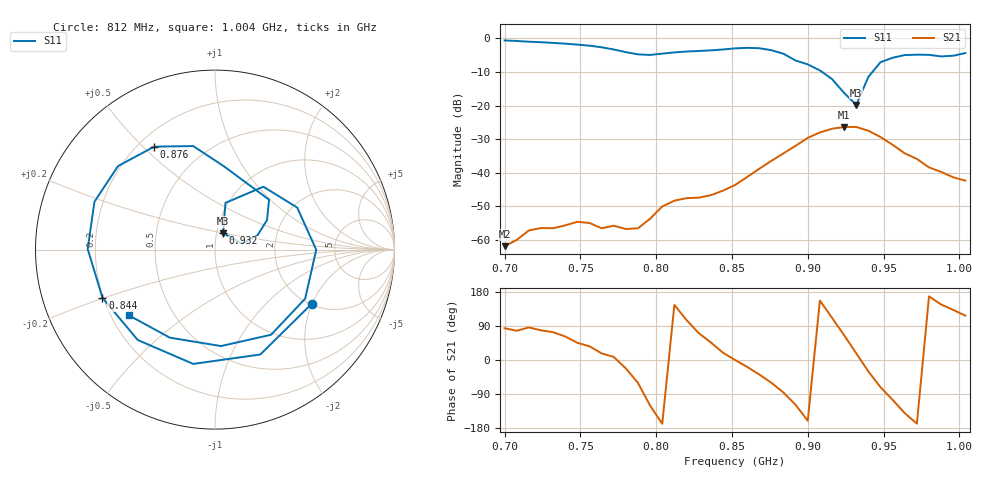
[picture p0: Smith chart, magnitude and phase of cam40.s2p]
# Hz S RI R 50
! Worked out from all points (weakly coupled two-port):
!   39 points, 700 MHz to 1.004 GHz, reference 50 ohm
!   highest |S21| = -26.39 dB at 924 MHz (marker M1); lowest = -61.9 dB at 700 MHz (marker M2)
!   lowest |S11| = -19.8 dB at 932 MHz (marker M3), VSWR 1.23, Z = 53.8 + j9.96 ohm
!   |S11| at or under -10 dB: 909.4 MHz to 942.7 MHz (33.25 MHz wide, 3.59 % of centre)
!   S12 and S22 are empty: the file has one direction only
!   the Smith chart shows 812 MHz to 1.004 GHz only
!   S11 on the Smith chart (normalised r, x): 812 MHz: 2.04, -1.99; 844 MHz: 0.20, -0.20; 876 MHz: 0.26, +0.54; 932 MHz: 1.08, +0.20; 1.004 GHz: 0.27, -0.31
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7e8  0.7661 0.5284  8.67e-05 0.0008  0 0  0 0
7.24e8  0.8365 -0.2619  0.000304 0.00147  0 0  0 0
7.4e8  0.4468 -0.7045  0.000774 0.00145  0 0  0 0
7.56e8  -0.1951 -0.7528  0.00144 0.00105  0 0  0 0
7.72e8  -0.6563 -0.1891  0.00161 0.000227  0 0  0 0
7.8e8  -0.5796 0.2302  0.00134 -0.000548  0 0  0 0
7.88e8  -0.2253 0.5317  0.000731 -0.00129  0 0  0 0
7.96e8  0.2594 0.5035  -0.00105 -0.00178  0 0  0 0
8.04e8  0.5744 0.1445  -0.00308 -0.000644  0 0  0 0
8.12e8  0.5392 -0.3017  -0.00315 0.00217  0 0  0 0
8.28e8  -0.1213 -0.637  0.00137 0.00402  0 0  0 0
8.44e8  -0.6269 -0.2686  0.00509 0.0018  0 0  0 0
8.52e8  -0.7092 0.00333  0.00654 1.36e-05  0 0  0 0
8.76e8  -0.3389 0.5736  0.00749 -0.013  0 0  0 0
9e8  0.3012 0.2781  -0.0311 -0.0111  0 0  0 0
9.08e8  0.29 0.1648  -0.0365 0.0157  0 0  0 0
9.24e8  0.1501 0.0334  0.0201 0.0435  0 0  0 0
9.32e8  0.0454 0.0916  0.0456 0.0145  0 0  0 0
9.4e8  0.0581 0.2604  0.0364 -0.0212  0 0  0 0
9.56e8  0.4579 0.2343  -0.00676 -0.0251  0 0  0 0
9.8e8  0.3126 -0.4743  -0.0117 0.00248  0 0  0 0
1.004e9  -0.4802 -0.366  -0.00346 0.00678  0 0  0 0
